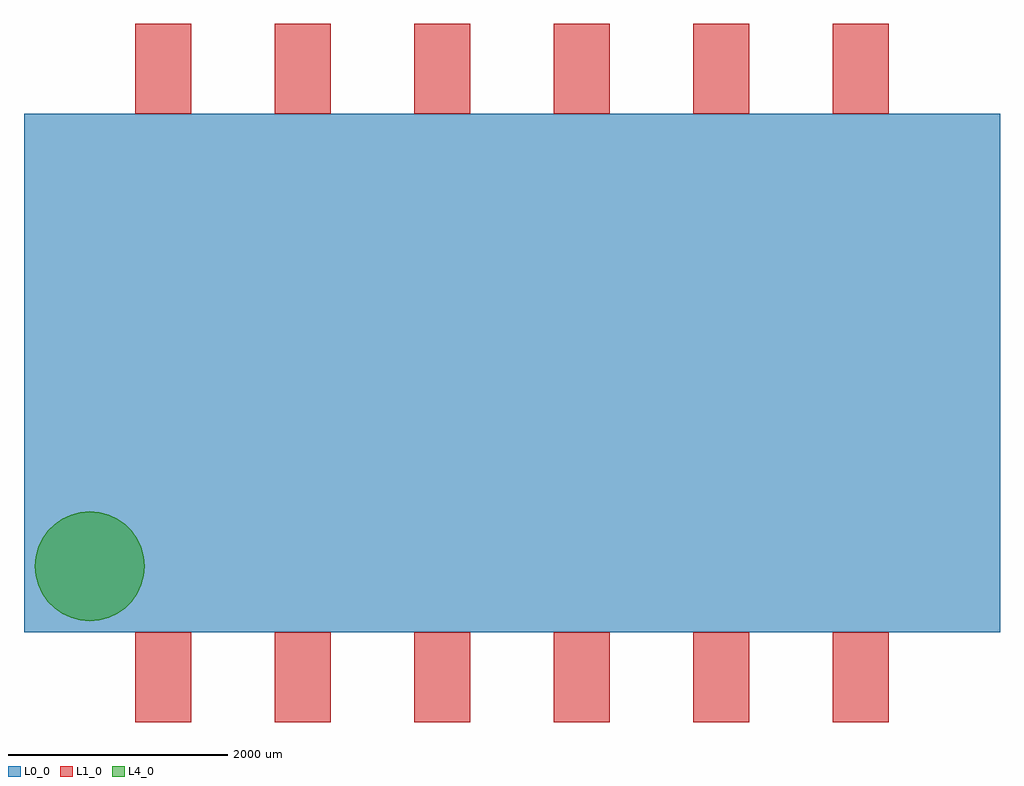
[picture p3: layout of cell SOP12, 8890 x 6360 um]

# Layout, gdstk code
import gdstk
lib = gdstk.Library(unit=1e-6, precision=1e-09)
def R(c, l, rs):  # rectangles x0, y0, x1, y1
    for r in rs: c.add(gdstk.rectangle(r[:2], r[2:], *l))
def A(c, l, x, y, w, h, nx, ny, dx, dy):  # array of equal rectangles
    R(c, l, [(x+i*dx, y+j*dy, x+i*dx+w, y+j*dy+h) for i in range(nx) for j in range(ny)])
def P(c, l, *ps):  # polygons
    for p in ps: c.add(gdstk.Polygon(p, *l))
L0_0 = (0, 0)
L1_0 = (1, 0)
L4_0 = (4, 0)
L99_1 = (99, 1)
L99_2 = (99, 2)
L99_3 = (99, 3)
L99_4 = (99, 4)
L99_5 = (99, 5)
L99_6 = (99, 6)
L99_7 = (99, 7)
L99_8 = (99, 8)
L99_9 = (99, 9)
L99_10 = (99, 10)
L99_11 = (99, 11)
L99_12 = (99, 12)

sop12 = lib.new_cell('SOP12')
R(sop12, L0_0, [(0,0,8890,4720)])
A(sop12, L1_0, 1015, -820, 510, 820, 6, 2, 1270, 5540)
P(sop12, L4_0, [(1100,600),(1092.404,513.176),(1069.846,428.99),(1033.013,350),(983.022,278.606),(921.394,216.978),(850,166.987),(771.01,130.154),(686.824,107.596),(600,100),(513.176,107.596),(428.99,130.154),(350,166.987),(278.606,216.978),(216.978,278.606),(166.987,350),(130.154,428.99),(107.596,513.176),(100,600),(107.596,686.824),(130.154,771.01),(166.987,850),(216.978,921.394),(278.606,983.022),(350,1033.013),(428.99,1069.846),(513.176,1092.404),(600,1100),(686.824,1092.404),(771.01,1069.846),(850,1033.013),(921.394,983.022),(983.022,921.394),(1033.013,850),(1069.846,771.01),(1092.404,686.824)])
sop12.add(gdstk.FlexPath([(1525,0),(1015,0)], 0, ends="round", simple_path=True, layer=99, datatype=1))  # L99_1
sop12.add(gdstk.FlexPath([(2795,0),(2285,0)], 0, ends="round", simple_path=True, layer=99, datatype=2))  # L99_2
sop12.add(gdstk.FlexPath([(4065,0),(3555,0)], 0, ends="round", simple_path=True, layer=99, datatype=3))  # L99_3
sop12.add(gdstk.FlexPath([(5335,0),(4825,0)], 0, ends="round", simple_path=True, layer=99, datatype=4))  # L99_4
sop12.add(gdstk.FlexPath([(6605,0),(6095,0)], 0, ends="round", simple_path=True, layer=99, datatype=5))  # L99_5
sop12.add(gdstk.FlexPath([(7875,0),(7365,0)], 0, ends="round", simple_path=True, layer=99, datatype=6))  # L99_6
sop12.add(gdstk.FlexPath([(1015,4720),(1525,4720)], 0, ends="round", simple_path=True, layer=99, datatype=12))  # L99_12
sop12.add(gdstk.FlexPath([(2285,4720),(2795,4720)], 0, ends="round", simple_path=True, layer=99, datatype=11))  # L99_11
sop12.add(gdstk.FlexPath([(3555,4720),(4065,4720)], 0, ends="round", simple_path=True, layer=99, datatype=10))  # L99_10
sop12.add(gdstk.FlexPath([(4825,4720),(5335,4720)], 0, ends="round", simple_path=True, layer=99, datatype=9))  # L99_9
sop12.add(gdstk.FlexPath([(6095,4720),(6605,4720)], 0, ends="round", simple_path=True, layer=99, datatype=8))  # L99_8
sop12.add(gdstk.FlexPath([(7365,4720),(7875,4720)], 0, ends="round", simple_path=True, layer=99, datatype=7))  # L99_7

lib.write_gds('SOP12.gds')
